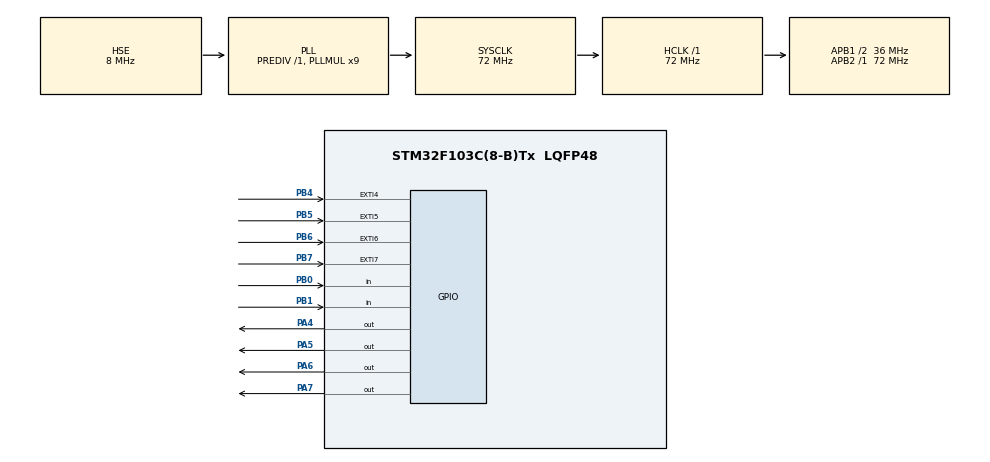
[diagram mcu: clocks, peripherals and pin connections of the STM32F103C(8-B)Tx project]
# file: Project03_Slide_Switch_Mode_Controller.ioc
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Mcu.Family=STM32F1
Mcu.Name=STM32F103C(8-B)Tx
Mcu.Package=LQFP48
NVIC.EXTI4_IRQn=true\:0\:0\:false\:false\:true\:true\:true\:true
NVIC.EXTI9_5_IRQn=true\:0\:0\:false\:false\:true\:true\:true\:true
NVIC.PriorityGroup=NVIC_PRIORITYGROUP_4
PA4.PinState=GPIO_PIN_RESET
PA4.Signal=GPIO_Output
PA5.PinState=GPIO_PIN_RESET
PA5.Signal=GPIO_Output
PA6.PinState=GPIO_PIN_RESET
PA6.Signal=GPIO_Output
PA7.PinState=GPIO_PIN_RESET
PA7.Signal=GPIO_Output
PB0.GPIO_PuPd=GPIO_PULLDOWN
PB0.Signal=GPIO_Input
PB1.GPIO_PuPd=GPIO_PULLDOWN
PB1.Signal=GPIO_Input
PB4.GPIO_ModeDefaultEXTI=GPIO_MODE_IT_RISING
PB4.GPIO_PuPd=GPIO_PULLUP
PB4.Signal=GPXTI4
PB5.GPIO_PuPd=GPIO_PULLUP
PB5.Signal=GPXTI5
PB6.GPIO_PuPd=GPIO_PULLUP
PB6.Signal=GPXTI6
PB7.GPIO_PuPd=GPIO_PULLUP
PB7.Signal=GPXTI7
PD0-OSC_IN.Mode=HSE-External-Oscillator
PD0-OSC_IN.Signal=RCC_OSC_IN
PD1-OSC_OUT.Mode=HSE-External-Oscillator
PD1-OSC_OUT.Signal=RCC_OSC_OUT
ProjectManager.HeapSize=0x200
ProjectManager.StackSize=0x400
ProjectManager.TargetToolchain=STM32CubeIDE
RCC.AHBFreq_Value=72000000
RCC.APB1CLKDivider=RCC_HCLK_DIV2
RCC.APB1Freq_Value=36000000
RCC.APB1TimFreq_Value=72000000
RCC.APB2Freq_Value=72000000
RCC.APB2TimFreq_Value=72000000
RCC.HCLKFreq_Value=72000000
RCC.PLLMUL=RCC_PLL_MUL9
RCC.PLLSourceVirtual=RCC_PLLSOURCE_HSE
RCC.SYSCLKFreq_VALUE=72000000
RCC.SYSCLKSource=RCC_SYSCLKSOURCE_PLLCLK
RCC.USBFreq_Value=72000000
VP_SYS_VS_ND.Mode=No_Debug
board=custom

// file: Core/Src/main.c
/* USER CODE BEGIN Header */
/**
  ******************************************************************************
  * @file           : main.c
  * @brief          : Main program body
  ******************************************************************************
  * @attention
  *
  * Copyright (c) 2026 STMicroelectronics.
  * All rights reserved.
  *
  * This software is licensed under terms that can be found in the LICENSE file
  * in the root directory of this software component.
  * If no LICENSE file comes with this software, it is provided AS-IS.
  *
  ******************************************************************************
  */
/* USER CODE END Header */
#include "main.h"

/* USER CODE BEGIN PV */
uint32_t lastTick = 0;
uint8_t ledIndex = 0;
uint8_t blinkState = 0;
/* USER CODE END PV */

void SystemClock_Config(void);
static void MX_GPIO_Init(void);

/* USER CODE BEGIN 0 */
uint8_t ReadMode(void)
{
    uint8_t mode = 0;

    if(HAL_GPIO_ReadPin(GPIOB, GPIO_PIN_0) == GPIO_PIN_SET)
        mode |= 0x01;

    if(HAL_GPIO_ReadPin(GPIOB, GPIO_PIN_1) == GPIO_PIN_SET)
        mode |= 0x02;

    return mode;
}

void AllLED_Off(void)
{
    HAL_GPIO_WritePin(GPIOA,
        GPIO_PIN_4 | GPIO_PIN_5 | GPIO_PIN_6 | GPIO_PIN_7,
        GPIO_PIN_SET);
}

/* Mode 1: Running LED */
void RunningLED(void)
{
    uint32_t now = HAL_GetTick();

    if(now - lastTick >= 200)
    {
        lastTick = now;

        AllLED_Off();

        HAL_GPIO_WritePin(GPIOA, (GPIO_PIN_4 << ledIndex), GPIO_PIN_RESET);

        ledIndex++;
        if(ledIndex >= 4) ledIndex = 0;
    }
}

/* Mode 2: Blink LED */
void BlinkLED(void)
{
    uint32_t now = HAL_GetTick();

    if(now - lastTick >= 500)
    {
        lastTick = now;
        blinkState = !blinkState;

        HAL_GPIO_WritePin(GPIOA,
            GPIO_PIN_4 | GPIO_PIN_5 | GPIO_PIN_6 | GPIO_PIN_7,
            blinkState ? GPIO_PIN_RESET : GPIO_PIN_SET);
    }
}
/* USER CODE END 0 */

int main(void)
{

  /* MCU Configuration--------------------------------------------------------*/

  /* Reset of all peripherals, Initializes the Flash interface and the Systick. */
  HAL_Init();

  /* Configure the system clock */
  SystemClock_Config();

  /* Initialize all configured peripherals */
  MX_GPIO_Init();

  /* Infinite loop */
  while (1)
  {

    /* USER CODE BEGIN 3 */
	  uint8_t mode = ReadMode();

	  switch(mode)
	  {
	  	  case 0:
	  		  AllLED_Off();
	      break;

	      case 1:
	    	  RunningLED();
	      break;

	      case 2:
	    	  BlinkLED();
	      break;

	      }
  }
  /* USER CODE END 3 */
}

void SystemClock_Config(void)
{
  RCC_OscInitTypeDef RCC_OscInitStruct = {0};
  RCC_ClkInitTypeDef RCC_ClkInitStruct = {0};

  /** Initializes the RCC Oscillators according to the specified parameters
  * in the RCC_OscInitTypeDef structure.
  */
  RCC_OscInitStruct.OscillatorType = RCC_OSCILLATORTYPE_HSE;
  RCC_OscInitStruct.HSEState = RCC_HSE_ON;
  RCC_OscInitStruct.HSEPredivValue = RCC_HSE_PREDIV_DIV1;
  RCC_OscInitStruct.HSIState = RCC_HSI_ON;
  RCC_OscInitStruct.PLL.PLLState = RCC_PLL_ON;
  RCC_OscInitStruct.PLL.PLLSource = RCC_PLLSOURCE_HSE;
  RCC_OscInitStruct.PLL.PLLMUL = RCC_PLL_MUL9;
  if (HAL_RCC_OscConfig(&RCC_OscInitStruct) != HAL_OK)
  {
    Error_Handler();
  }

  /** Initializes the CPU, AHB and APB buses clocks
  */
  RCC_ClkInitStruct.ClockType = RCC_CLOCKTYPE_HCLK|RCC_CLOCKTYPE_SYSCLK
                              |RCC_CLOCKTYPE_PCLK1|RCC_CLOCKTYPE_PCLK2;
  RCC_ClkInitStruct.SYSCLKSource = RCC_SYSCLKSOURCE_PLLCLK;
  RCC_ClkInitStruct.AHBCLKDivider = RCC_SYSCLK_DIV1;
  RCC_ClkInitStruct.APB1CLKDivider = RCC_HCLK_DIV2;
  RCC_ClkInitStruct.APB2CLKDivider = RCC_HCLK_DIV1;

  if (HAL_RCC_ClockConfig(&RCC_ClkInitStruct, FLASH_LATENCY_2) != HAL_OK)
  {
    Error_Handler();
  }
}

static void MX_GPIO_Init(void)
{
  GPIO_InitTypeDef GPIO_InitStruct = {0};

  /* GPIO Ports Clock Enable */
  __HAL_RCC_GPIOD_CLK_ENABLE();
  __HAL_RCC_GPIOA_CLK_ENABLE();
  __HAL_RCC_GPIOB_CLK_ENABLE();

  /*Configure GPIO pin Output Level */
  HAL_GPIO_WritePin(GPIOA, GPIO_PIN_4|GPIO_PIN_5|GPIO_PIN_6|GPIO_PIN_7, GPIO_PIN_RESET);

  /*Configure GPIO pins : PA4 PA5 PA6 PA7 */
  GPIO_InitStruct.Pin = GPIO_PIN_4|GPIO_PIN_5|GPIO_PIN_6|GPIO_PIN_7;
  GPIO_InitStruct.Mode = GPIO_MODE_OUTPUT_PP;
  GPIO_InitStruct.Pull = GPIO_NOPULL;
  GPIO_InitStruct.Speed = GPIO_SPEED_FREQ_LOW;
  HAL_GPIO_Init(GPIOA, &GPIO_InitStruct);

  /*Configure GPIO pins : PB0 PB1 */
  GPIO_InitStruct.Pin = GPIO_PIN_0|GPIO_PIN_1;
  GPIO_InitStruct.Mode = GPIO_MODE_INPUT;
  GPIO_InitStruct.Pull = GPIO_PULLDOWN;
  HAL_GPIO_Init(GPIOB, &GPIO_InitStruct);

  /*Configure GPIO pins : PB4 PB5 PB6 PB7 */
  GPIO_InitStruct.Pin = GPIO_PIN_4|GPIO_PIN_5|GPIO_PIN_6|GPIO_PIN_7;
  GPIO_InitStruct.Mode = GPIO_MODE_IT_RISING;
  GPIO_InitStruct.Pull = GPIO_PULLUP;
  HAL_GPIO_Init(GPIOB, &GPIO_InitStruct);

  /* EXTI interrupt init*/
  HAL_NVIC_SetPriority(EXTI4_IRQn, 0, 0);
  HAL_NVIC_EnableIRQ(EXTI4_IRQn);

  HAL_NVIC_SetPriority(EXTI9_5_IRQn, 0, 0);
  HAL_NVIC_EnableIRQ(EXTI9_5_IRQn);

}

/* USER CODE BEGIN 4 */
void HAL_GPIO_EXTI_Callback(uint16_t GPIO_Pin)
{
	// Project02 재사용 (EXTI Button Mode)
	// 버튼 누르면 LED 토글됨 (ISR에서 처리)
    static uint32_t last = 0;

    if(HAL_GetTick() - last < 50)
        return;

    last = HAL_GetTick();

    if(GPIO_Pin == GPIO_PIN_4)
        HAL_GPIO_TogglePin(GPIOA, GPIO_PIN_4);

    if(GPIO_Pin == GPIO_PIN_5)
        HAL_GPIO_TogglePin(GPIOA, GPIO_PIN_5);

    if(GPIO_Pin == GPIO_PIN_6)
        HAL_GPIO_TogglePin(GPIOA, GPIO_PIN_6);

    if(GPIO_Pin == GPIO_PIN_7)
        HAL_GPIO_TogglePin(GPIOA, GPIO_PIN_7);
}
/* USER CODE END 4 */

void Error_Handler(void)
{
  __disable_irq();
  while (1)
  {
  }
}
